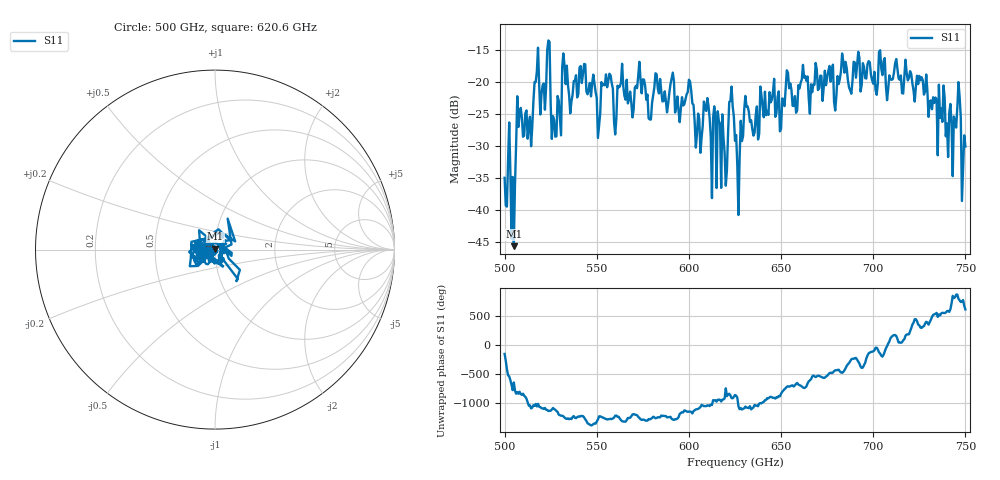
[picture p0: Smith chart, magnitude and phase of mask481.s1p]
!Created with skrf (http://scikit-rf.org).
# GHz S MA R 50.0
!freq magS11 angS11
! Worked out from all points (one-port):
!   401 points, 500 GHz to 750 GHz, reference 50 ohm
!   lowest |S11| = -45.7 dB at 505 GHz (marker M1), VSWR 1.01, Z = 50.1 + j0.502 ohm
!   |S11| at or under -10 dB: start of sweep to end of sweep
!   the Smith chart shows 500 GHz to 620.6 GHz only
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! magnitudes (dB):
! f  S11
! 500 GHz  -35.0
! 505 GHz  -45.7
! 508.1 GHz  -25.1
! 513.8 GHz  -25.4
! 516.9 GHz  -20.0
! 520.6 GHz  -20.5
! 523.8 GHz  -13.5
! 526.9 GHz  -25.9
! 531.2 GHz  -17.6
! 542.5 GHz  -18.8
! 550.6 GHz  -28.7
! 562.5 GHz  -20.7
! 590.6 GHz  -19.3
! 593.8 GHz  -22.2
! 600 GHz  -19.6
! 605 GHz  -24.9
! 609.4 GHz  -24.5
! 620 GHz  -36.2
! 623.1 GHz  -20.7
! 625 GHz  -29.2
! 626.2 GHz  -33.0
! 631.2 GHz  -23.8
! 656.2 GHz  -23.7
! 687.5 GHz  -21.3
! 718.8 GHz  -19.7
! 741.9 GHz  -23.4
! 746.2 GHz  -20.0
! 750 GHz  -30.1
